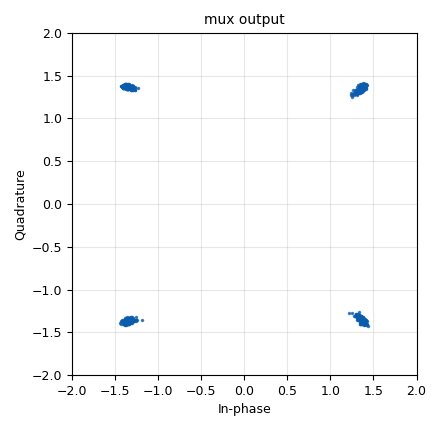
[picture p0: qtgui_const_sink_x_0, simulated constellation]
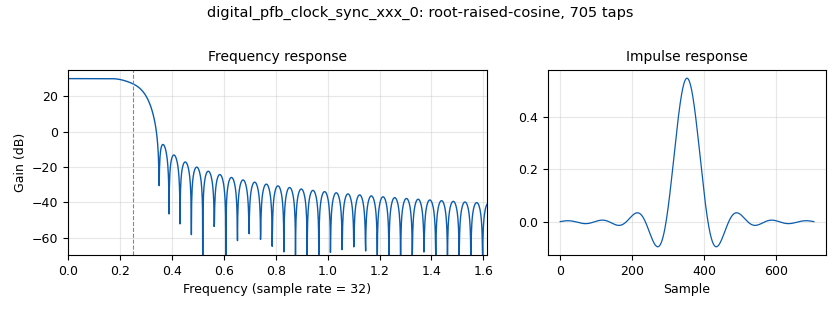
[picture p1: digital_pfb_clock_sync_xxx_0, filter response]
options:
  parameters:
    author: abhilash
    generate_options: qt_gui
    id: siso
    output_language: python
    title: Not titled yet
  states: {}

blocks:
- name: arity
  id: variable
  parameters:
    value: '4'
  states: {}
- name: excess_bw
  id: variable
  parameters:
    value: '0.35'
  states: {}
- name: nfilts
  id: variable
  parameters:
    value: '32'
  states: {}
- name: noise
  id: variable_qtgui_range
  parameters:
    label: noise of channel
    outputmsgname: value
    showports: 'False'
    start: '0'
    step: '0.0001'
    stop: '5'
    value: '0.001'
  states: {}
- name: phase_bw
  id: variable_qtgui_range
  parameters:
    label: 'Phase: Bandwidth'
    outputmsgname: value
    showports: 'False'
    start: '0.0'
    step: '0.01'
    stop: '1.0'
    value: 6.28/100.0
    widget: slider
  states: {}
- name: qpsk
  id: variable_constellation
  parameters:
    precision: '8'
    type: qpsk
  states: {}
- name: rrc_taps
  id: variable
  parameters:
    value: firdes.root_raised_cosine(nfilts, nfilts, 1.0/float(sps), 0.35, 11*sps*nfilts)
  states: {}
- name: samp_rate
  id: variable
  parameters:
    value: '800000'
  states: {}
- name: sps
  id: variable
  parameters:
    value: '2'
  states: {}
- name: taps
  id: variable
  parameters:
    value: '[1.0, 0.25-0.25j, 0.50 + 0.10j, -0.3 + 0.2j]'
  states: {}
- name: timing_loop_bw
  id: variable_qtgui_range
  parameters:
    label: 'Time: BW'
    outputmsgname: value
    showports: 'False'
    start: '0.0'
    step: '0.01'
    stop: '0.2'
    value: 6.28/100.0
    widget: slider
  states: {}
- name: variable_adaptive_algorithm_0
  id: variable_adaptive_algorithm
  parameters:
    cons: variable_constellation_rect_0
    modulus: '4'
    step_size: '.0001'
    type: cma
  states: {}
- name: variable_constellation_rect_0
  id: variable_constellation_rect
  parameters:
    const_points: '[-1-1j, -1+1j, 1+1j, 1-1j]'
    imag_sect: '2'
    real_sect: '2'
    rot_sym: '4'
    sym_map: '[0, 1, 3, 2]'
    w_imag_sect: '1'
    w_real_sect: '1'
  states: {}
- name: analog_random_source_x_0
  id: analog_random_source_x
  parameters:
    max: '2'
    min: '0'
    num_samps: '10000'
    repeat: 'True'
    type: byte
  states: {}
- name: channels_channel_model_0_1
  id: channels_channel_model
  parameters:
    epsilon: '1.0'
    freq_offset: '0.0'
    noise_voltage: noise
    seed: '0'
    taps: 1.0 + 1.0j
  states: {}
- name: digital_constellation_modulator_0
  id: digital_constellation_modulator
  parameters:
    constellation: qpsk
    differential: 'True'
    excess_bw: '0.35'
    samples_per_symbol: '2'
  states: {}
- name: digital_costas_loop_cc_0
  id: digital_costas_loop_cc
  parameters:
    order: int(arity)
    w: phase_bw
  states: {}
- name: digital_linear_equalizer_0
  id: digital_linear_equalizer
  parameters:
    alg: variable_adaptive_algorithm_0
    num_taps: '15'
    sps: '2'
  states: {}
- name: digital_pfb_clock_sync_xxx_0
  id: digital_pfb_clock_sync_xxx
  parameters:
    filter_size: '32'
    init_phase: '16'
    loop_bw: '0.0628'
    max_dev: '1.5'
    osps: '1'
    sps: '2'
    taps: rrc_taps
    type: ccf
  states: {}
- name: digital_probe_mpsk_snr_est_c_0
  id: digital_probe_mpsk_snr_est_c
  parameters:
    alpha: '0.001'
    msg_nsamples: '10000'
    type: '0'
  states: {}
- name: digital_symbol_sync_xx_1
  id: digital_symbol_sync_xx
  parameters:
    damping: '1.0'
    loop_bw: '0.0628'
    max_dev: '1.5'
    osps: '1'
    resamp_type: digital.IR_MMSE_8TAP
    sps: sps
    ted_gain: '1.0'
    ted_type: digital.TED_MUELLER_AND_MULLER
    type: cc
  states: {}
- name: epy_block_0
  id: epy_block
  parameters:
    _source_code: |
      """
      Embedded Python Blocks:

      Each time this file is saved, GRC will instantiate the first class it finds
      to get ports and parameters of your block. The arguments to __init__  will
      be the parameters. All of them are required to have default values!
      """

      import numpy as np
      from gnuradio import gr


      class blk(gr.sync_block):  # other base classes are basic_block, decim_block, interp_block
          """Embedded Python Block example - a simple multiply const"""

          def __init__(self, example_param=1.0):  # only default arguments here
              """arguments to this function show up as parameters in GRC"""
              gr.sync_block.__init__(
                  self,
                  name='Embedded Python Block',   # will show up in GRC
                  in_sig=[np.complex64],
                  out_sig=[np.complex64]
              )
              # if an attribute with the same name as a parameter is found,
              # a callback is registered (properties work, too).
              self.example_param = example_param

          def work(self, input_items, output_items):
              """example: multiply with constant"""
              output_items[0][:] = input_items[0] * self.example_param
              return len(output_items[0])
    example_param: ''
  states: {}
- name: epy_block_1
  id: epy_block
  parameters:
    _source_code: |
      """
      Embedded Python Blocks:

      Each time this file is saved, GRC will instantiate the first class it finds
      to get ports and parameters of your block. The arguments to __init__  will
      be the parameters. All of them are required to have default values!
      """

      import numpy as np
      from gnuradio import gr


      class blk(gr.sync_block):  # other base classes are basic_block, decim_block, interp_block
          """Embedded Python Block example - a simple multiply const"""

          def __init__(self):  # only default arguments here
              """arguments to this function show up as parameters in GRC"""
              gr.sync_block.__init__(
                  self,
                  name='Embedded Python Block',   # will show up in GRC
                  in_sig=[np.complex64],
                  out_sig=[np.complex64]
              )
              # if an attribute with the same name as a parameter is found,
              # a callback is registered (properties work, too).
              self.example_param = example_param

          def work(self, input_items, output_items):
              """example: multiply with constant"""
              output_items[0][:] = input_items[0] * self.example_param
              return len(output_items[0])
    example_param: '1.0'
  states: {}
- name: epy_block_1_0
  id: epy_block
  parameters:
    _source_code: |
      """
      Embedded Python Blocks:

      Each time this file is saved, GRC will instantiate the first class it finds
      to get ports and parameters of your block. The arguments to __init__  will
      be the parameters. All of them are required to have default values!
      """

      import numpy as np
      from gnuradio import gr
      import pmt
      from gnuradio import grc

      class blk(gr.sync_block):  # other base classes are basic_block, decim_block, interp_block
          """Embedded Python Block example - a simple multiply const"""

          def __init__(self):  # only default arguments here
              """arguments to this function show up as parameters in GRC"""
              gr.sync_block.__init__(
                  self,
                  name='datatypeconversion',   # will show up in GRC
                  in_sig=None,
                  out_sig=[np.float32]
              )
              # if an attribute with the same name as a parameter is found,
              # a callback is registered (properties work, too).
              self.selectPortName = 'snr'
              self.message_port_register_in(pmt.intern(self.selectPortName))
              self.set_msg_handler(pmt.intern(self.selectPortName), self.handle_msg)
              self.snr=0
              #print(222)
          def handle_msg(self,msg):
              self.snr=pmt.to_float(msg)
              #print(22)
              
          def work(self, input_items, output_items):
              """example: multiply with constant"""
              #print(2)
              output_items[0][:] = self.snr 
              return len(output_items[0])
  states: {}
- name: fec_ber_bf_0
  id: fec_ber_bf
  parameters:
    test_mode: 'False'
  states: {}
- name: qtgui_const_sink_x_0
  id: qtgui_const_sink_x
  parameters:
    name: mux output
    size: '1024'
    type: complex
  states: {}
- name: qtgui_number_sink_0_0
  id: qtgui_number_sink
  parameters:
    color1: ("blue", "red")
    graph_type: qtgui.NUM_GRAPH_HORIZ
    label1: 'SNR '
    max: '30'
    min: '0'
    name: reciver snr
    type: float
    unit1: dB
  states: {}
- name: virtual_sink_0
  id: virtual_sink
  parameters:
    stream_id: tx-rx
  states: {}
- name: virtual_sink_1
  id: virtual_sink
  parameters:
    stream_id: fading_channel1
  states: {}
- name: virtual_source_1
  id: virtual_source
  parameters:
    stream_id: fading_channel1
  states: {}
- name: virtual_source_2
  id: virtual_source
  parameters:
    stream_id: tx-rx
  states: {}

connections:
- [analog_random_source_x_0, '0', digital_constellation_modulator_0, '0']
- [channels_channel_model_0_1, '0', virtual_sink_0, '0']
- [digital_constellation_modulator_0, '0', virtual_sink_1, '0']
- [digital_costas_loop_cc_0, '0', digital_symbol_sync_xx_1, '0']
- [digital_linear_equalizer_0, '0', digital_costas_loop_cc_0, '0']
- [digital_pfb_clock_sync_xxx_0, '0', digital_linear_equalizer_0, '0']
- [digital_probe_mpsk_snr_est_c_0, snr, epy_block_1_0, snr]
- [digital_symbol_sync_xx_1, '0', digital_probe_mpsk_snr_est_c_0, '0']
- [digital_symbol_sync_xx_1, '0', qtgui_const_sink_x_0, '0']
- [epy_block_1_0, '0', qtgui_number_sink_0_0, '0']
- [virtual_source_1, '0', channels_channel_model_0_1, '0']
- [virtual_source_2, '0', digital_pfb_clock_sync_xxx_0, '0']

metadata:
  file_format: 1
  grc_version: 3.10.4.0
